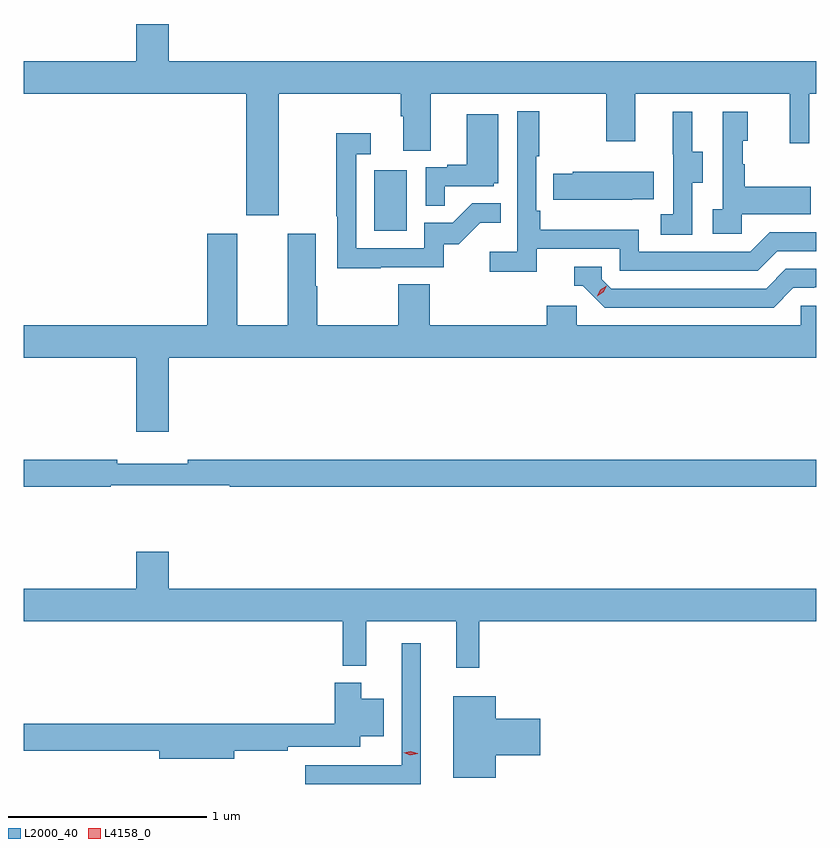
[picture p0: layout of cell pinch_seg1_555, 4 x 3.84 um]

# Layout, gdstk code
import gdstk
lib = gdstk.Library(unit=1e-6, precision=1e-09)
def R(c, l, rs):  # rectangles x0, y0, x1, y1
    for r in rs: c.add(gdstk.rectangle(r[:2], r[2:], *l))
def P(c, l, *ps):  # polygons
    for p in ps: c.add(gdstk.Polygon(p, *l))
L2000_40 = (2000, 40)
L4158_0 = (4158, 0)

pinch_seg1_555 = lib.new_cell('pinch_seg1_555')
R(pinch_seg1_555, L2000_40, [(1017.356,517.74,1017.52,518.047)])
P(pinch_seg1_555, L2000_40, [(1016.875,518.432),(1017.491,518.432),(1017.491,518.32),(1017.503,518.32),(1017.503,518.146),(1017.643,518.146),(1017.643,518.432),(1018.528,518.432),(1018.528,518.193),(1018.675,518.193),(1018.675,518.432),(1019.456,518.432),(1019.456,518.184),(1019.553,518.184),(1019.553,518.432),(1019.588,518.432),(1019.588,518.596),(1016.32,518.596),(1016.32,518.785),(1016.156,518.785),(1016.156,518.596),(1015.588,518.596),(1015.588,518.432),(1016.711,518.432),(1016.711,517.818),(1016.875,517.818)],
  [(1018.178,517.65),(1018.596,517.65),(1018.596,517.539),(1019.293,517.539),(1019.392,517.638),(1019.588,517.638),(1019.588,517.734),(1019.355,517.734),(1019.256,517.635),(1018.692,517.635),(1018.692,517.747),(1018.196,517.747),(1018.196,517.843),(1018.176,517.843),(1018.176,518.116),(1018.189,518.116),(1018.189,518.344),(1018.08,518.344),(1018.08,517.636),(1017.939,517.636),(1017.939,517.534),(1018.178,517.534)],
  [(1018.962,517.984),(1019.017,517.984),(1019.017,518.139),(1018.963,518.139),(1018.963,518.341),(1018.865,518.341),(1018.865,518.127),(1018.866,518.127),(1018.866,517.823),(1018.803,517.823),(1018.803,517.72),(1018.962,517.72)],
  [(1019.214,517.823),(1019.561,517.823),(1019.561,517.963),(1019.227,517.963),(1019.227,518.078),(1019.217,518.078),(1019.217,518.196),(1019.242,518.196),(1019.242,518.341),(1019.118,518.341),(1019.118,517.85),(1019.067,517.85),(1019.067,517.725),(1019.214,517.725)],
  [(1017.713,517.965),(1017.96,517.965),(1017.96,517.98),(1017.982,517.98),(1017.982,518.329),(1017.824,518.329),(1017.824,518.074),(1017.725,518.074),(1017.725,518.061),(1017.618,518.061),(1017.618,517.867),(1017.713,517.867)],
  [(1017.389,517.557),(1017.708,517.557),(1017.708,517.674),(1017.784,517.674),(1017.891,517.781),(1017.995,517.781),(1017.995,517.88),(1017.851,517.88),(1017.753,517.782),(1017.609,517.782),(1017.609,517.653),(1017.267,517.653),(1017.267,518.127),(1017.34,518.127),(1017.34,518.233),(1017.166,518.233),(1017.166,517.813),(1017.171,517.813),(1017.171,517.552),(1017.389,517.552)],
  [(1018.661,517.901),(1018.769,517.901),(1018.769,518.038),(1018.359,518.038),(1018.359,518.028),(1018.261,518.028),(1018.261,517.898),(1018.661,517.898)],
  [(1016.32,517.1),(1019.588,517.1),(1019.588,517.362),(1019.511,517.362),(1019.511,517.264),(1018.38,517.264),(1018.38,517.362),(1018.229,517.362),(1018.229,517.264),(1017.638,517.264),(1017.638,517.472),(1017.478,517.472),(1017.478,517.264),(1017.069,517.264),(1017.069,517.46),(1017.061,517.46),(1017.061,517.726),(1016.921,517.726),(1016.921,517.264),(1016.665,517.264),(1016.665,517.726),(1016.513,517.726),(1016.513,517.264),(1015.588,517.264),(1015.588,517.1),(1016.156,517.1),(1016.156,516.726),(1016.32,516.726)],
  [(1019.473,517.452),(1019.58,517.452),(1019.58,517.455),(1019.588,517.455),(1019.588,517.548),(1019.436,517.548),(1019.337,517.449),(1018.554,517.449),(1018.506,517.497),(1018.506,517.56),(1018.367,517.56),(1018.367,517.464),(1018.41,517.464),(1018.521,517.353),(1019.374,517.353)],
  [(1016.026,516.456),(1016.626,516.456),(1016.626,516.448),(1019.588,516.448),(1019.588,516.584),(1016.416,516.584),(1016.416,516.565),(1016.06,516.565),(1016.06,516.584),(1015.588,516.584),(1015.588,516.448),(1016.026,516.448)],
  [(1017.199,515.543),(1017.317,515.543),(1017.317,515.768),(1017.77,515.768),(1017.77,515.535),(1017.887,515.535),(1017.887,515.768),(1019.588,515.768),(1019.588,515.932),(1016.32,515.932),(1016.32,516.121),(1016.156,516.121),(1016.156,515.932),(1015.588,515.932),(1015.588,515.768),(1017.199,515.768)],
  [(1017.592,515.659),(1017.495,515.659),(1017.495,515.041),(1017.009,515.041),(1017.009,514.947),(1017.592,514.947)],
  [(1016.65,515.116),(1016.921,515.116),(1016.921,515.136),(1017.286,515.136),(1017.286,515.189),(1017.406,515.189),(1017.406,515.377),(1017.292,515.377),(1017.292,515.458),(1017.158,515.458),(1017.158,515.252),(1015.588,515.252),(1015.588,515.116),(1016.27,515.116),(1016.27,515.074),(1016.65,515.074)],
  [(1017.97,515.093),(1018.195,515.093),(1018.195,515.276),(1017.97,515.276),(1017.97,515.389),(1017.755,515.389),(1017.755,514.979),(1017.97,514.979)])
P(pinch_seg1_555, L4158_0, [(1018.482,517.411),(1018.482,517.412),(1018.499,517.444),(1018.53,517.462),(1018.531,517.462),(1018.531,517.462),(1018.514,517.43),(1018.483,517.411)],
  [(1017.54,515.093),(1017.506,515.104),(1017.505,515.104),(1017.506,515.104),(1017.541,515.113),(1017.576,515.102),(1017.576,515.102),(1017.576,515.101)])

lib.write_gds('pinch_seg1_555.gds')
